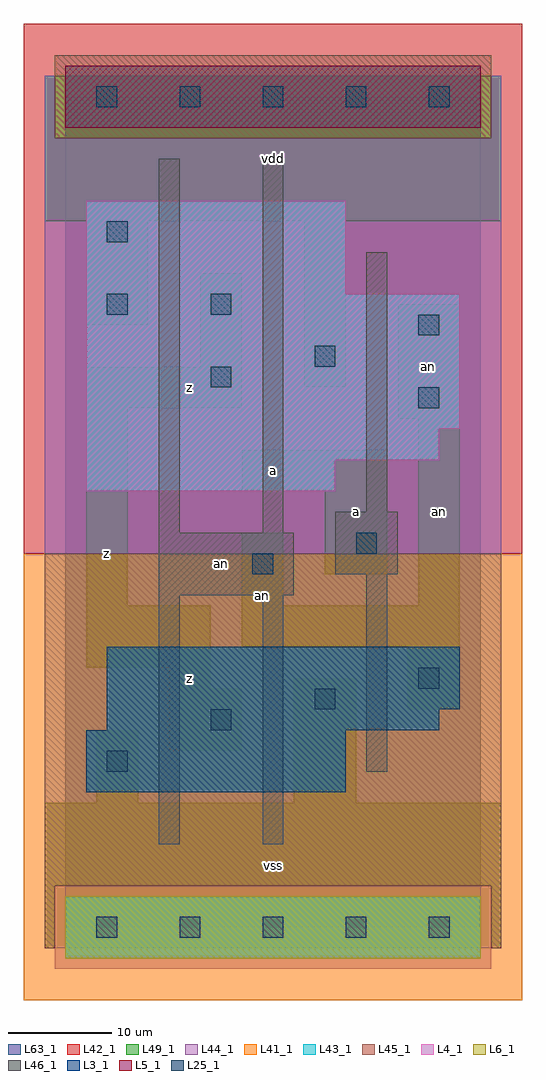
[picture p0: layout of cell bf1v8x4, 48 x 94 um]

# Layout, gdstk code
import gdstk
lib = gdstk.Library(unit=1e-6, precision=1e-09)
def R(c, l, rs):  # rectangles x0, y0, x1, y1
    for r in rs: c.add(gdstk.rectangle(r[:2], r[2:], *l))
def A(c, l, x, y, w, h, nx, ny, dx, dy):  # array of equal rectangles
    R(c, l, [(x+i*dx, y+j*dy, x+i*dx+w, y+j*dy+h) for i in range(nx) for j in range(ny)])
L3_1 = (3, 1)
L4_1 = (4, 1)
L5_1 = (5, 1)
L6_1 = (6, 1)
L25_1 = (25, 1)
L41_1 = (41, 1)
L42_1 = (42, 1)
L43_1 = (43, 1)
L44_1 = (44, 1)
L45_1 = (45, 1)
L46_1 = (46, 1)
L49_1 = (49, 1)
L63_1 = (63, 1)

bf1v8x4 = lib.new_cell('bf1v8x4')
R(bf1v8x4, L3_1, [(2,13,27,19), (4,19,36,21), (4,21,38,27)])
R(bf1v8x4, L4_1, [(2,42,26,45), (2,45,36,48), (2,48,38,61), (2,61,27,70)])
R(bf1v8x4, L5_1, [(0,77,40,83)])
R(bf1v8x4, L6_1, [(0,-3,40,3), (0,-3,40,3)])
A(bf1v8x4, L25_1, 3, -1, 2, 2, 5, 2, 8, 80)
R(bf1v8x4, L25_1, [(4,15,6,17), (14,19,16,21), (24,21,26,23), (34,23,36,25), (18,34,20,36), (28,36,30,38), (34,50,36,52), (14,52,16,54), (24,54,26,56), (34,57,36,59), (4,59,6,61), (14,59,16,61), (4,66,6,68)])
R(bf1v8x4, L41_1, [(-4,-7,44,36)])
R(bf1v8x4, L42_1, [(-4,36,44,87)])
R(bf1v8x4, L43_1, [(0,-3,40,3), (2,13,27,19), (4,19,36,21), (4,21,38,27), (2,42,26,45), (2,45,36,48), (2,48,38,61), (2,61,27,70), (0,77,40,83)])
R(bf1v8x4, L44_1, [(-1,-4,41,4), (-2,36,42,76), (-2,76,-1,82), (41,76,42,82)])
R(bf1v8x4, L45_1, [(-2,-2,-1,4), (41,-2,42,4), (-2,4,42,36), (-1,76,41,84)])
R(bf1v8x4, L46_1, [(9,8,11,32), (19,8,21,32), (29,15,31,34), (9,32,22,38), (26,34,32,40), (9,38,11,74), (19,38,21,74), (29,40,31,65)])
R(bf1v8x4, L49_1, [(-2,-2,42,12), (3,12,7,19), (22,12,28,24), (10,17,17,23), (33,21,38,27), (10,23,14,25), (2,25,14,31), (17,27,38,31), (2,31,6,50), (17,31,21,38), (34,31,38,49), (25,34,31,42), (17,42,31,46), (32,49,38,60), (2,50,17,54), (23,52,27,68), (13,54,17,63), (2,58,8,68), (-2,68,42,82)])
R(bf1v8x4, L63_1, [(0,0,40,80)])
bf1v8x4.add(gdstk.Label('an', (15,35), layer=46, texttype=1))
bf1v8x4.add(gdstk.Label('z', (4,36), layer=49, texttype=1))
bf1v8x4.add(gdstk.Label('z', (12,24), layer=49, texttype=1))
bf1v8x4.add(gdstk.Label('z', (12,52), layer=49, texttype=1))
bf1v8x4.add(gdstk.Label('vss', (20,6), layer=49, texttype=1))
bf1v8x4.add(gdstk.Label('an', (19,32), layer=49, texttype=1))
bf1v8x4.add(gdstk.Label('a', (28,40), layer=49, texttype=1))
bf1v8x4.add(gdstk.Label('a', (20,44), layer=49, texttype=1))
bf1v8x4.add(gdstk.Label('vdd', (20,74), layer=49, texttype=1))
bf1v8x4.add(gdstk.Label('an', (36,40), layer=49, texttype=1))
bf1v8x4.add(gdstk.Label('an', (35,54), layer=49, texttype=1))

lib.write_gds('bf1v8x4.gds')
